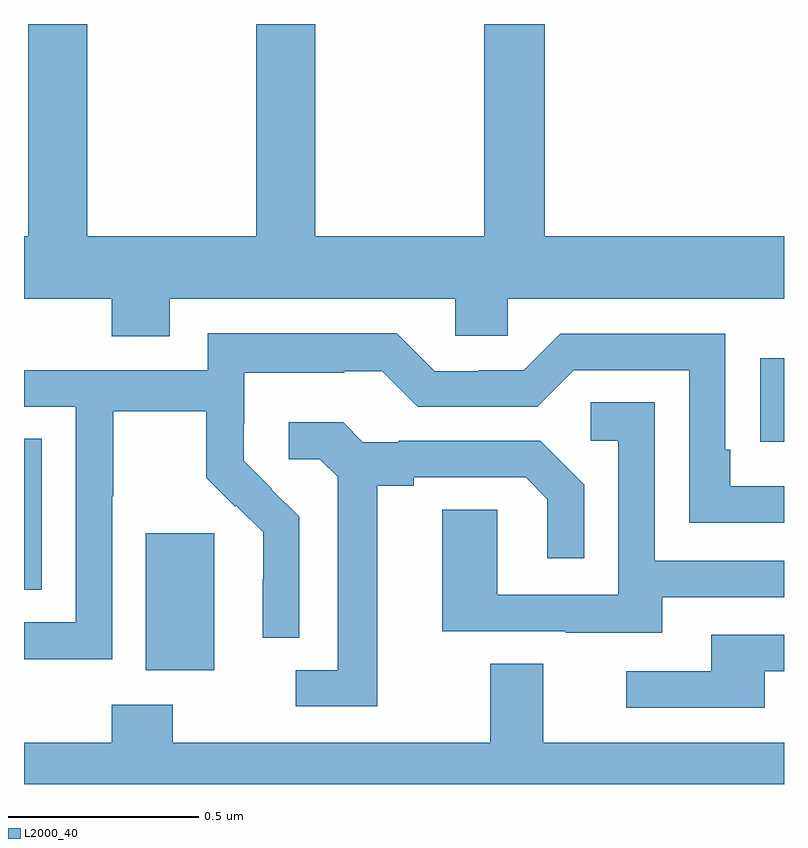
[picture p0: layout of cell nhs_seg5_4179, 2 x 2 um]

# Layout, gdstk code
import gdstk
lib = gdstk.Library(unit=1e-6, precision=1e-09)
def R(c, l, rs):  # rectangles x0, y0, x1, y1
    for r in rs: c.add(gdstk.rectangle(r[:2], r[2:], *l))
def P(c, l, *ps):  # polygons
    for p in ps: c.add(gdstk.Polygon(p, *l))
L2000_40 = (2000, 40)

nhs_seg5_4179 = lib.new_cell('nhs_seg5_4179')
R(nhs_seg5_4179, L2000_40, [(167.321,873.098,167.5,873.459), (167,873.31,167.047,873.707), (168.937,873.7,169,873.919)])
P(nhs_seg5_4179, L2000_40, [(167.383,874.076),(168.135,874.076),(168.135,873.978),(168.273,873.978),(168.273,874.076),(169,874.076),(169,874.24),(168.371,874.24),(168.371,874.799),(168.211,874.799),(168.211,874.24),(167.766,874.24),(167.766,874.799),(167.611,874.799),(167.611,874.24),(167.166,874.24),(167.166,874.799),(167.011,874.799),(167.011,874.24),(167,874.24),(167,874.076),(167.231,874.076),(167.231,873.977),(167.383,873.977)],
  [(167.232,873.556),(167.235,873.556),(167.235,873.78),(167.479,873.78),(167.479,873.605),(167.556,873.528),(167.559,873.531),(167.63,873.461),(167.63,873.338),(167.628,873.338),(167.628,873.184),(167.724,873.184),(167.724,873.502),(167.651,873.575),(167.652,873.576),(167.578,873.65),(167.578,873.747),(167.58,873.747),(167.58,873.881),(167.843,873.881),(167.843,873.885),(167.943,873.885),(168.036,873.792),(168.351,873.792),(168.447,873.888),(168.75,873.888),(168.75,873.486),(169,873.486),(169,873.582),(168.859,873.582),(168.859,873.679),(168.846,873.679),(168.846,873.984),(168.411,873.984),(168.315,873.888),(168.197,873.888),(168.197,873.885),(168.081,873.885),(167.981,873.985),(167.484,873.985),(167.484,873.888),(167,873.888),(167,873.792),(167.136,873.792),(167.136,873.225),(167,873.225),(167,873.127),(167.232,873.127)],
  [(168.679,873.291),(169,873.291),(169,873.387),(168.66,873.387),(168.66,873.803),(168.492,873.803),(168.492,873.702),(168.564,873.702),(168.564,873.297),(168.246,873.297),(168.246,873.521),(168.101,873.521),(168.101,873.201),(168.425,873.201),(168.425,873.197),(168.679,873.197)],
  [(167.929,873.584),(168.025,873.584),(168.025,873.606),(168.32,873.606),(168.377,873.549),(168.377,873.393),(168.474,873.393),(168.474,873.586),(168.358,873.702),(167.986,873.702),(167.986,873.699),(167.892,873.699),(167.84,873.751),(167.697,873.751),(167.697,873.654),(167.778,873.654),(167.825,873.607),(167.825,873.099),(167.715,873.099),(167.715,873.003),(167.929,873.003)],
  [(168.949,873.096),(169,873.096),(169,873.192),(168.809,873.192),(168.809,873.096),(168.585,873.096),(168.585,873),(168.949,873)],
  [(169,872.908),(168.367,872.908),(168.367,873.116),(168.227,873.116),(168.227,872.908),(167.391,872.908),(167.391,873.007),(167.231,873.007),(167.231,872.908),(167,872.908),(167,872.799),(169,872.799)])

lib.write_gds('nhs_seg5_4179.gds')
